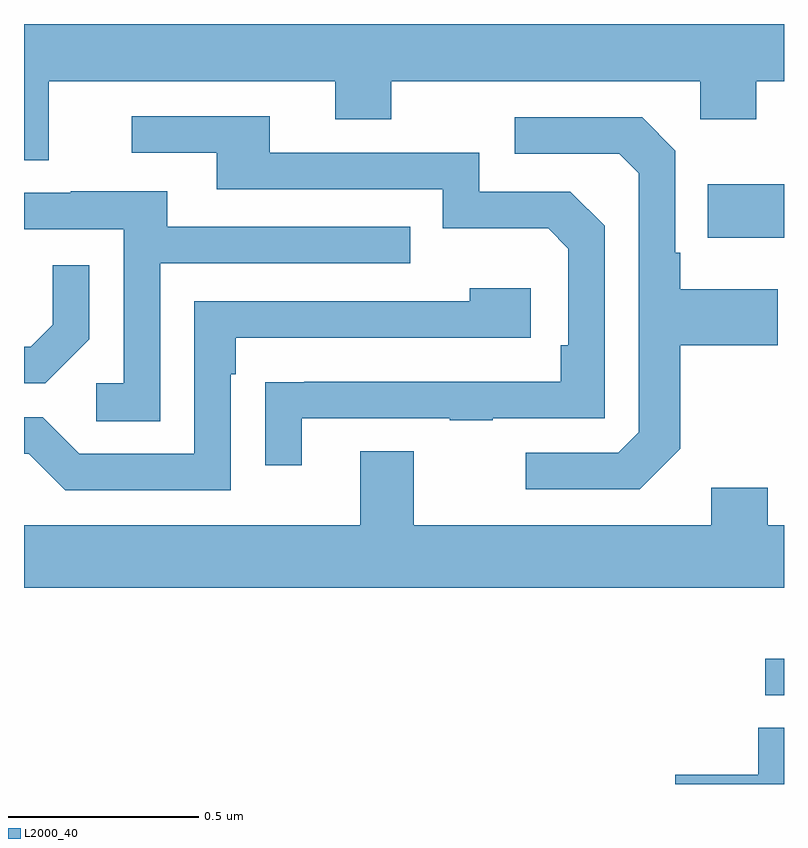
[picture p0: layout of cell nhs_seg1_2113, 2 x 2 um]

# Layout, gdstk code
import gdstk
lib = gdstk.Library(unit=1e-6, precision=1e-09)
def R(c, l, rs):  # rectangles x0, y0, x1, y1
    for r in rs: c.add(gdstk.rectangle(r[:2], r[2:], *l))
def P(c, l, *ps):  # polygons
    for p in ps: c.add(gdstk.Polygon(p, *l))
L2000_40 = (2000, 40)

nhs_seg1_2113 = lib.new_cell('nhs_seg1_2113')
R(nhs_seg1_2113, L2000_40, [(138.951,567.432,139,567.528), (138.799,568.637,139,568.777)])
P(nhs_seg1_2113, L2000_40, [(137.065,569.048),(137.819,569.048),(137.819,568.949),(137.967,568.949),(137.967,569.048),(138.78,569.048),(138.78,568.949),(138.927,568.949),(138.927,569.048),(139,569.048),(139,569.199),(137,569.199),(137,568.84),(137.065,568.84)],
  [(137.731,568.161),(138.121,568.161),(138.121,568.156),(138.233,568.156),(138.233,568.161),(138.528,568.161),(138.528,568.668),(138.438,568.758),(138.198,568.758),(138.198,568.86),(137.647,568.86),(137.647,568.956),(137.283,568.956),(137.283,568.86),(137.507,568.86),(137.507,568.764),(138.102,568.764),(138.102,568.661),(138.379,568.661),(138.432,568.608),(138.432,568.354),(138.412,568.354),(138.412,568.257),(137.737,568.257),(137.737,568.256),(137.635,568.256),(137.635,568.038),(137.731,568.038)],
  [(138.727,568.081),(138.727,568.354),(138.983,568.354),(138.983,568.501),(138.727,568.501),(138.727,568.597),(138.714,568.597),(138.714,568.866),(138.627,568.953),(138.291,568.953),(138.291,568.857),(138.567,568.857),(138.618,568.806),(138.618,568.125),(138.564,568.071),(138.321,568.071),(138.321,567.975),(138.621,567.975)],
  [(137.358,568.569),(138.017,568.569),(138.017,568.665),(137.377,568.665),(137.377,568.759),(137.123,568.759),(137.123,568.755),(137,568.755),(137,568.659),(137.262,568.659),(137.262,568.254),(137.19,568.254),(137.19,568.153),(137.358,568.153)],
  [(137.172,568.37),(137.172,568.564),(137.075,568.564),(137.075,568.407),(137.018,568.35),(137,568.35),(137,568.254),(137.056,568.254)],
  [(137.544,568.277),(137.557,568.277),(137.557,568.374),(138.334,568.374),(138.334,568.504),(138.173,568.504),(138.173,568.47),(137.448,568.47),(137.448,568.068),(137.145,568.068),(137.049,568.164),(137,568.164),(137,568.068),(137.013,568.068),(137.109,567.972),(137.544,567.972)],
  [(139,567.88),(138.957,567.88),(138.957,567.979),(138.809,567.979),(138.809,567.88),(138.025,567.88),(138.025,568.075),(137.885,568.075),(137.885,567.88),(137,567.88),(137,567.716),(139,567.716)],
  [(139,567.347),(138.932,567.347),(138.932,567.224),(138.714,567.224),(138.714,567.199),(139,567.199)])

lib.write_gds('nhs_seg1_2113.gds')
